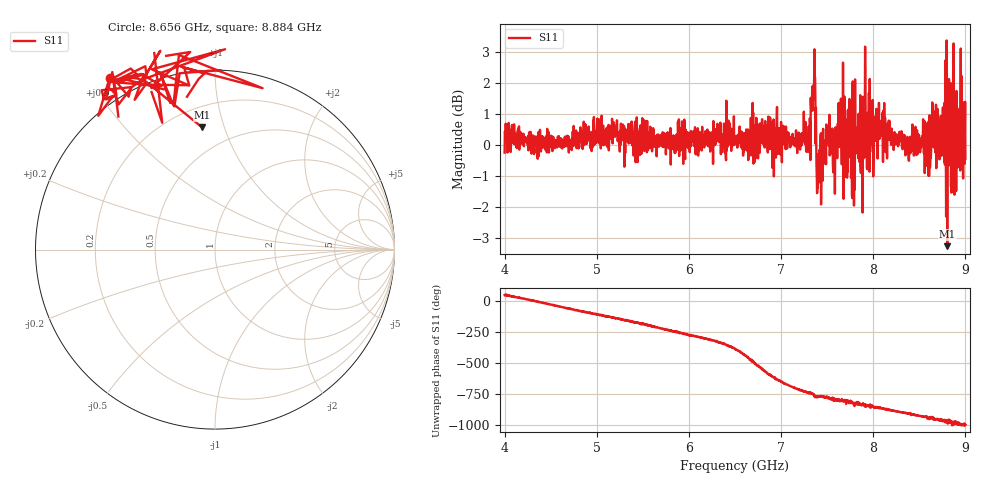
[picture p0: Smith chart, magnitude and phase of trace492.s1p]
! Created with skrf 1.8.0 (http://scikit-rf.org).
# Hz S RI R 50.0
!freq ReS11 ImS11
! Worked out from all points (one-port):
!   1601 points, 4 GHz to 9 GHz, reference 50 ohm
!   lowest |S11| = -3.3 dB at 8.803 GHz (marker M1), VSWR 5.36, Z = 16.4 + j42.2 ohm
!   |S11| at or under -10 dB: nowhere
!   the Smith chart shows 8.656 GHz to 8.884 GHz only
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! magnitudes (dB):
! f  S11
! 4 GHz  -0.3
! 4.625 GHz  -0.1
! 5.25 GHz  -0.2
! 5.875 GHz  0.1
! 6.5 GHz  0.1
! 7.125 GHz  0.4
! 7.294 GHz  0.0
! 7.347 GHz  1.8
! 7.409 GHz  -1.2
! 7.5 GHz  0.1
! 7.588 GHz  0.4
! 7.647 GHz  1.3
! 7.7 GHz  -1.0
! 7.75 GHz  0.7
! 7.784 GHz  -0.8
! 7.822 GHz  -0.1
! 7.875 GHz  0.0
! 7.928 GHz  -0.1
! 7.941 GHz  1.0
! 7.988 GHz  1.2
! 8.375 GHz  -0.1
! 8.441 GHz  -0.4
! 8.584 GHz  0.7
! 8.656 GHz  1.0
! 8.803 GHz  -3.3
! 8.869 GHz  -1.3
! 8.972 GHz  0.4
! 9 GHz  -0.5
